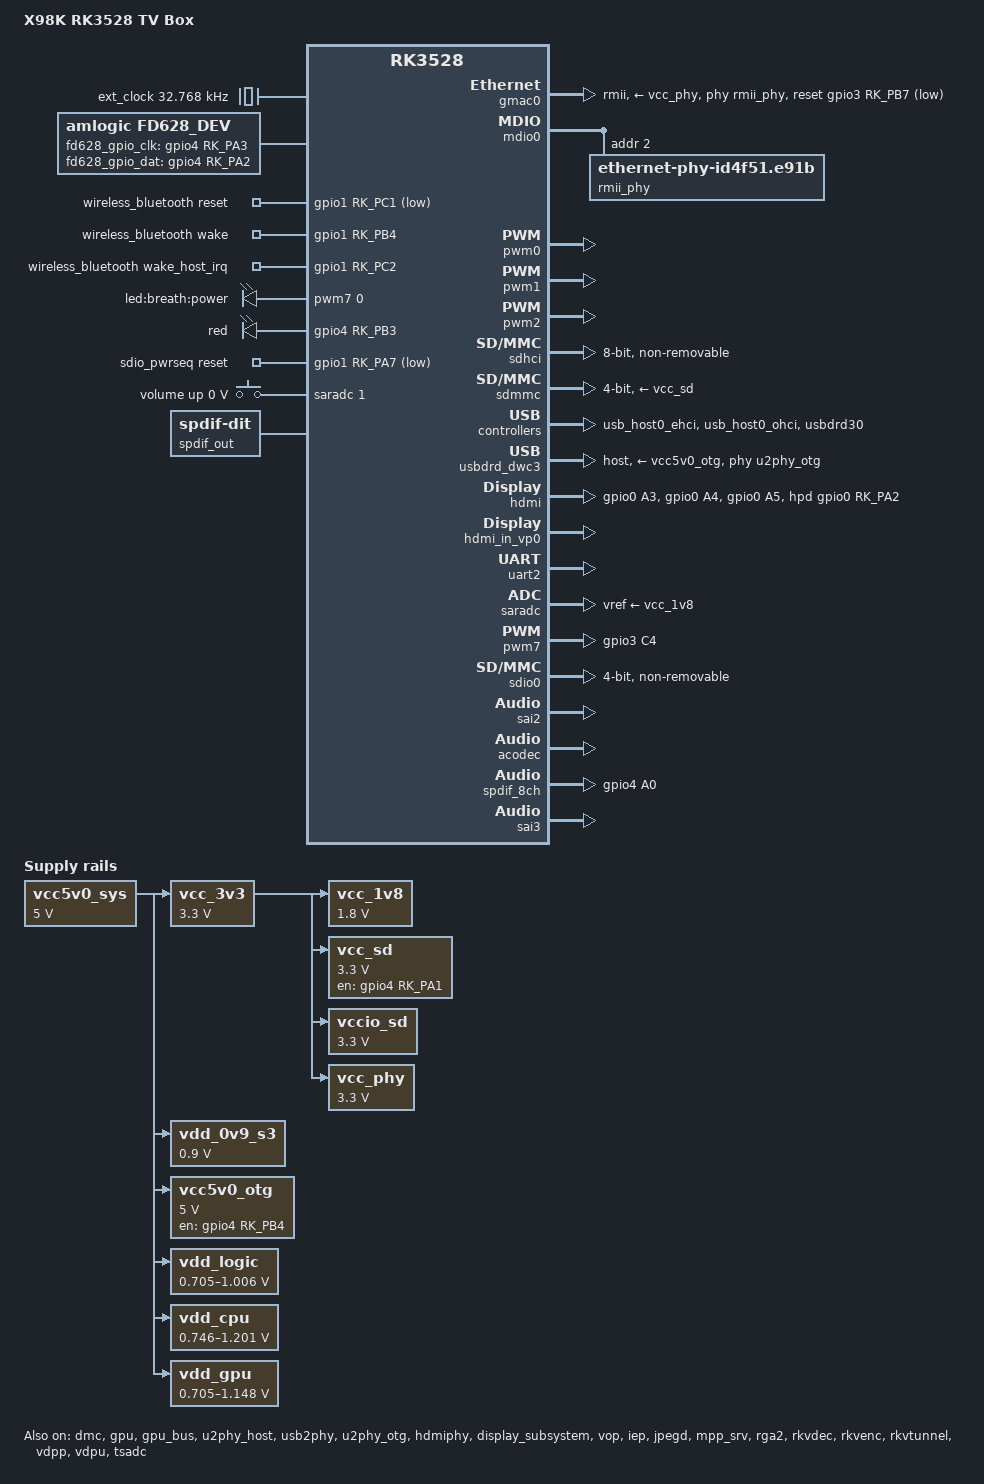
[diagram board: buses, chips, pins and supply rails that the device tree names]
// SPDX-License-Identifier: (GPL-2.0+ OR MIT)
/*
 * Copyright (c) 2025 Armbian
 * Device Tree for X98K RK3528A TV Box
 *
 * Hardware:
 * - SoC: Rockchip RK3528A (quad-core Cortex-A53, 4GB DDR4)
 * - Ethernet: Motorcomm YT8531 PHY (RMII mode, 100Mbps)
 * - WiFi/BT: AIC8800 SDIO (requires out-of-tree driver)
 * - Storage: 32GB eMMC + SD card slot
 * - USB: USB 2.0 x2 + USB 3.0 x1 (2.0 speed only)
 * - Audio: HDMI, S/PDIF optical output
 * - Display: HDMI up to 1080p
 * - IR: PWM3-based receiver (disabled, GPIO conflict)
 */

/dts-v1/;

#include <dt-bindings/clock/rk3528-cru.h>
#include <dt-bindings/gpio/gpio.h>
#include <dt-bindings/input/input.h>
#include <dt-bindings/pinctrl/rockchip.h>
#include "rk3528.dtsi"
#include "rk3528-linux.dtsi"

/ {
	model = "X98K RK3528 TV Box";
	compatible = "rockchip,x98k", "rockchip,rk3528";

	aliases {
		ethernet0 = &gmac0;
		mmc0 = &sdmmc;    /* SD card - like working f7cb62724 */
		mmc1 = &sdhci;    /* eMMC */
		sdio0 = &sdio0;   /* WiFi */
 		serial2 = &uart2;
	};

	chosen: chosen {
		bootargs = ""; /* Clear any inherited hardcoded bootargs */
	};

	ext_clock: ext-clock {
		compatible = "fixed-clock";
		#clock-cells = <0>;
		clock-frequency = <32768>;
	};

	vcc5v0_sys: vcc5v0-sys {
		compatible = "regulator-fixed";
		regulator-name = "vcc5v0_sys";
		regulator-always-on;
		regulator-boot-on;
		regulator-min-microvolt = <5000000>;
		regulator-max-microvolt = <5000000>;
	};

	vcc_3v3: vcc-3v3 {
		compatible = "regulator-fixed";
		regulator-name = "vcc_3v3";
		regulator-always-on;
		regulator-boot-on;
		regulator-min-microvolt = <3300000>;
		regulator-max-microvolt = <3300000>;
		vin-supply = <&vcc5v0_sys>;
	};

	vcc_1v8: vcc-1v8 {
		compatible = "regulator-fixed";
		regulator-name = "vcc_1v8";
		regulator-always-on;
		regulator-boot-on;
		regulator-min-microvolt = <1800000>;
		regulator-max-microvolt = <1800000>;
		vin-supply = <&vcc_3v3>;
	};

	vdd_0v9_s3: vdd-0v9-s3 {
		compatible = "regulator-fixed";
		regulator-name = "vdd_0v9_s3";
		regulator-always-on;
		regulator-boot-on;
		regulator-min-microvolt = <900000>;
		regulator-max-microvolt = <900000>;
		vin-supply = <&vcc5v0_sys>;
	};

	/* SD Card dedicated power supply - prevents kernel from disabling SD power */
	vcc_sd: vcc-sd {
		compatible = "regulator-fixed";
		regulator-name = "vcc_sd";
		regulator-always-on;
		regulator-boot-on;
		regulator-min-microvolt = <3300000>;
		regulator-max-microvolt = <3300000>;
		enable-active-high;
		gpio = <&gpio4 RK_PA1 GPIO_ACTIVE_HIGH>;
		pinctrl-names = "default";
		pinctrl-0 = <&sd_pwr_en>;
		vin-supply = <&vcc_3v3>;
	};

	/* SD Card I/O voltage - fixed 3.3V for non-UHS mode */
	vccio_sd: vccio-sd {
		compatible = "regulator-fixed";
		regulator-name = "vccio_sd";
		regulator-always-on;
		regulator-boot-on;
		regulator-min-microvolt = <3300000>;
		regulator-max-microvolt = <3300000>;
		vin-supply = <&vcc_3v3>;
	};

	vcc5v0_otg: vcc5v0-otg-regulator {
		compatible = "regulator-fixed";
		regulator-name = "vcc5v0_otg";
		regulator-always-on;
		regulator-boot-on;
		regulator-min-microvolt = <5000000>;
		regulator-max-microvolt = <5000000>;
		enable-active-high;
		gpio = <&gpio4 RK_PB4 GPIO_ACTIVE_HIGH>;
		pinctrl-names = "default";
		pinctrl-0 = <&vcc5v0_otg_en>;
		vin-supply = <&vcc5v0_sys>;
	};

	vcc_phy: vcc-phy-regulator {
		compatible = "regulator-fixed";
		regulator-name = "vcc_phy";
		regulator-always-on;
		regulator-boot-on;
		regulator-min-microvolt = <3300000>;
		regulator-max-microvolt = <3300000>;
		vin-supply = <&vcc_3v3>;
	};

	/* FD628 LED Display Controller (7-segment display) */
	fd628_dev: fd628-dev {
		compatible = "amlogic,fd628_dev";
		fd628_gpio_clk = <&gpio4 RK_PA3 GPIO_ACTIVE_HIGH>;
		fd628_gpio_dat = <&gpio4 RK_PA2 GPIO_ACTIVE_HIGH>;
		status = "okay";
	};

	vdd_logic: vdd-logic {
		compatible = "pwm-regulator";
		pwms = <&pwm2 0 5000 1>;
		regulator-name = "vdd_logic";
		regulator-min-microvolt = <705000>;
		regulator-max-microvolt = <1006000>;
		regulator-init-microvolt = <900000>;
		regulator-always-on;
		regulator-boot-on;
		regulator-settling-time-up-us = <250>;
		pwm-supply = <&vcc5v0_sys>;
		status = "okay";
	};

	vdd_cpu: vdd-cpu {
		compatible = "pwm-regulator";
		pwms = <&pwm1 0 5000 1>;
		regulator-name = "vdd_cpu";
		regulator-min-microvolt = <746000>;
		regulator-max-microvolt = <1201000>;
		regulator-init-microvolt = <953000>;
		regulator-always-on;
		regulator-boot-on;
		regulator-settling-time-up-us = <250>;
		pwm-supply = <&vcc5v0_sys>;
		status = "okay";
	};

	vdd_gpu: vdd-gpu {
		compatible = "pwm-regulator";
		pwms = <&pwm0 0 5000 1>;
		regulator-name = "vdd_gpu";
		regulator-min-microvolt = <705000>;
		regulator-max-microvolt = <1148000>;
		regulator-init-microvolt = <900000>;
		regulator-always-on;
		regulator-boot-on;
		regulator-settling-time-up-us = <250>;
		pwm-supply = <&vcc5v0_sys>;
		status = "okay";
	};

/* Bluetooth - AIC8800 (use UART2 MUX1 to avoid GPIO conflicts) */
wireless_bluetooth: wireless-bluetooth {
	compatible = "bluetooth-platdata";
	clocks = <&ext_clock>;
	clock-names = "ext_clock";
	BT,reset_gpio = <&gpio1 RK_PC1 GPIO_ACTIVE_LOW>;      /* GPIO3_PC1 */
	BT,wake_gpio = <&gpio1 RK_PB4 GPIO_ACTIVE_HIGH>;      /* GPIO3_PB4 */
	BT,wake_host_irq = <&gpio1 RK_PC2 GPIO_ACTIVE_HIGH>;  /* GPIO3_PC2 */
	status = "okay";
};

	/* PWM Power LED - confirmed from Android */
	pwmleds {
		compatible = "pwm-leds";
		status = "okay";

		power_led: led-power {
			label = "led:breath:power";
			pwms = <&pwm7 0 1000000 0>;
			max-brightness = <255>;
			default-state = "on";
			linux,default-trigger = "default-on";
		};
	};

	/* GPIO Status LED - confirmed from Android (GPIO4_PB3) */
	gpio-leds {
		compatible = "gpio-leds";
		status = "okay";

		red_led: led-red {
			label = "red";
			gpios = <&gpio4 RK_PB3 GPIO_ACTIVE_HIGH>;
			default-state = "off";
			linux,default-trigger = "heartbeat";
		};
	};

	/* AIC8800 WiFi/BT power sequence */
	sdio_pwrseq: sdio-pwrseq {
		compatible = "mmc-pwrseq-simple";
		pinctrl-names = "default";
		pinctrl-0 = <&wifi_enable_h &wifi_32k>;
		clocks = <&ext_clock>;
		clock-names = "ext_clock";
		post-power-on-delay-ms = <200>;
		power-off-delay-us = <500000>;
		reset-gpios = <&gpio1 RK_PA7 GPIO_ACTIVE_LOW>;  /* GPIO1_PA7 */
	};

	/* ADC Keys */
	adc-keys {
		compatible = "adc-keys";
		io-channels = <&saradc 1>;
		io-channel-names = "buttons";
		keyup-threshold-microvolt = <1800000>;
		status = "okay";

		volumeup-key {
			label = "volume up";
			linux,code = <KEY_VOLUMEUP>;
			press-threshold-microvolt = <9>;
		};
	};

	/* HDMI Sound */
	hdmi_sound: hdmi-sound {
		compatible = "simple-audio-card";
		simple-audio-card,format = "i2s";
		simple-audio-card,mclk-fs = <128>;
		simple-audio-card,name = "rockchip-hdmi0";
		status = "okay";

		simple-audio-card,cpu {
			sound-dai = <&sai3>;
		};

		simple-audio-card,codec {
			sound-dai = <&hdmi>;
		};
	};

	/* IR Receiver - PWM3-based (GPIO4_PB6) from Android */
	ir-receiver {
		compatible = "gpio-ir-receiver";
		gpios = <&gpio4 RK_PB6 GPIO_ACTIVE_LOW>;
		pinctrl-names = "default";
		pinctrl-0 = <&ir_recv_pin>;
		linux,rc-map-name = "rc-beelink-gs1";
		status = "disabled"; /* Disabled: GPIO conflicts with PWM3, needs rockchip,remotectl-pwm */
	};

	/* S/PDIF Optical Audio */
	spdif_sound: spdif-sound {
		compatible = "simple-audio-card";
		simple-audio-card,name = "ROCKCHIP,SPDIF";
		simple-audio-card,mclk-fs = <128>;
		status = "okay";

		simple-audio-card,cpu {
			sound-dai = <&spdif_8ch>;
		};

		simple-audio-card,codec {
			sound-dai = <&spdif_out>;
		};
	};

	/* Internal Analog Audio Codec (for 3.5mm output if present) */
	acodec_sound: acodec-sound {
		compatible = "simple-audio-card";
		simple-audio-card,name = "rk3528-acodec";
		simple-audio-card,format = "i2s";
		simple-audio-card,mclk-fs = <256>;
		status = "okay";

		simple-audio-card,cpu {
			sound-dai = <&sai2>;
		};

		simple-audio-card,codec {
			sound-dai = <&acodec>;
		};
	};

	spdif_out: spdif-out {
		compatible = "linux,spdif-dit";
		#sound-dai-cells = <0>;
	};

	/* Rockchip Suspend Configuration */
	rockchip_suspend: rockchip-suspend {
		compatible = "rockchip,pm-rk3528";
		status = "okay";
		rockchip,sleep-debug-en = <1>;
		rockchip,sleep-mode-config = <1>;
		rockchip,wakeup-config = <0x11>;
		rockchip,virtual-poweroff = <1>;
		rockchip,pwm-regulator-config = <3>;
	};

	/* System Monitor for Thermal Protection */
	rockchip_system_monitor: rockchip-system-monitor {
		compatible = "rockchip,system-monitor";
		rockchip,thermal-zone = "soc-thermal";
		rockchip,polling-delay = <200>;
		rockchip,temp-hysteresis = <5000>;
		rockchip,offline-cpu-temp = <105000>;  /* 105°C - offline CPU 2-3 when hot */
		rockchip,temp-offline-cpus = "2-3";
	};
};

/* Ethernet - YT8531 PHY confirmed via Android (RMII mode, MDIO addr 2) */
&gmac0 {
	phy-mode = "rmii";
	clock_in_out = "output";

	snps,reset-gpio = <&gpio3 RK_PB7 GPIO_ACTIVE_LOW>;
	snps,reset-active-low;
	snps,reset-delays-us = <0 10000 50000>;

	phy-supply = <&vcc_phy>;
	phy-handle = <&rmii_phy>;
	status = "okay";
};

&mdio0 {
	#address-cells = <1>;
	#size-cells = <0>;

	rmii_phy: ethernet-phy@2 {
		compatible = "ethernet-phy-id4f51.e91b", "ethernet-phy-ieee802.3-c22";
		reg = <0x2>;
	};
};

/* PWM nodes for voltage scaling */
&pwm0 {
	status = "okay";
};

&pwm1 {
	status = "okay";
};

&pwm2 {
	status = "okay";
};

&cpu0 {
	cpu-supply = <&vdd_cpu>;
};

&dmc {
	center-supply = <&vdd_logic>;
	status = "okay";
};

&gpu {
	mali-supply = <&vdd_gpu>;
	status = "okay";
};

&gpu_bus {
	bus-supply = <&vdd_logic>;
	status = "okay";
};

/* eMMC */
&sdhci {
	bus-width = <8>;
	cap-mmc-highspeed;
	mmc-hs200-1_8v;
	non-removable;
	max-frequency = <200000000>;
	no-sd;
	no-sdio;
	status = "okay";
};

/* SD Card - conservative configuration without UHS modes */
&sdmmc {
	bus-width = <4>;
	cap-sd-highspeed;
	disable-wp;
	no-sdio;
	no-mmc;
	max-frequency = <50000000>;
	pinctrl-names = "default";
	pinctrl-0 = <&sdmmc_clk &sdmmc_cmd &sdmmc_bus4>;
	vmmc-supply = <&vcc_sd>;
	vqmmc-supply = <&vccio_sd>;
	status = "okay";
};

/* USB 2.0 Host */
&u2phy_host {
	status = "okay";
};

&usb_host0_ehci {
	status = "okay";
};

&usb_host0_ohci {
	status = "okay";
};

/* USB 3.0 Port (USB 2.0 speed only - RK3528 has no USB 3.0 PHY) */
&usb2phy {
	status = "okay";
};

&u2phy_otg {
	status = "okay";
};

&usbdrd_dwc3 {
	dr_mode = "host";
	phys = <&u2phy_otg>;
	phy-names = "usb2-phy";
	maximum-speed = "high-speed";
	snps,dis_u2_susphy_quirk;
	snps,usb2-lpm-disable;
	snps,dis-u2-freeclk-exists-quirk;
	snps,dis-del-phy-power-chg-quirk;
	snps,dis-tx-ipgap-linecheck-quirk;
	vbus-supply = <&vcc5v0_otg>;
	status = "okay";
};

&usbdrd30 {
	status = "okay";
};

/* HDMI */
&hdmi {
	status = "okay";
	cec-enable;
	/* DDC I2C timing from Android (asymmetric for EDID compatibility) */
	ddc-i2c-scl-high-time-ns = <9625>;
	ddc-i2c-scl-low-time-ns = <10000>;
	avdd-0v9-supply = <&vdd_0v9_s3>;
	avdd-1v8-supply = <&vcc_1v8>;
	hpd-gpios = <&gpio0 RK_PA2 GPIO_ACTIVE_HIGH>;
	pinctrl-names = "default";
	pinctrl-0 = <&hdmi_pins>;
};

&hdmiphy {
	status = "okay";
	phy-supply = <&vcc5v0_sys>;
};


&hdmi_in_vp0 {
	status = "okay";
	connect = <&vp0_out_hdmi>;
};

/* Display Subsystem */
&display_subsystem {
	status = "okay";
};

&vop {
	status = "okay";
};

&vop_mmu {
	status = "okay";
};


/* GPU */
&gpu {
	status = "okay";
};

/* Hardware Video Processing Units */
&iep {
	status = "okay";
};

&iep_mmu {
	status = "okay";
};

&jpegd {
	status = "okay";
};

&jpegd_mmu {
	status = "okay";
};

&mpp_srv {
	status = "okay";
};

&rga2 {
	status = "okay";
};

&rga2_mmu {
	status = "okay";
};

&rkvdec {
	status = "okay";
};

&rkvdec_mmu {
	status = "okay";
};

&rkvenc {
	status = "okay";
};

&rkvenc_mmu {
	status = "okay";
};

&rkvtunnel {
	status = "okay";
};

&vdpp {
	status = "okay";
};

&vdpu {
	status = "okay";
};

&vdpu_mmu {
	status = "okay";
};

/* Thermal monitoring */
&tsadc {
	status = "okay";
};

/* UART2 for Bluetooth (AIC8800) */
/* UART2 for Bluetooth - use MUX1 to avoid GPIO conflicts with wireless-bluetooth node */
&uart2 {
	pinctrl-names = "default";
	pinctrl-0 = <&uart2m1_xfer &uart2m1_ctsn &uart2m1_rtsn>;
	uart-has-rtscts;
	status = "okay";
};

/* SARADC */
&saradc {
	vref-supply = <&vcc_1v8>;
	status = "okay";
};

/* PWM3 - Used for IR receiver in Android, disabled for now */
&pwm3 {
	status = "disabled";
	pinctrl-names = "default";
	pinctrl-0 = <&pwm3_pins>;
};

&pwm7 {
	status = "okay";
	pinctrl-names = "default";
	pinctrl-0 = <&pwm7_pins>;
};

/* SDIO for WiFi (AIC8800) */
/* SDIO for WiFi - AIC8800 at ffc30000 */
&sdio0 {
	bus-width = <4>;
	cap-sd-highspeed;
	cap-sdio-irq;
	disable-wp;
	keep-power-in-suspend;
	max-frequency = <25000000>;  /* 25MHz for initial test - reduce clock speed */
	mmc-pwrseq = <&sdio_pwrseq>;
	no-sd;
	no-mmc;
	non-removable;
	sd-uhs-sdr12;
	sd-uhs-sdr25;
	pinctrl-names = "default";
	pinctrl-0 = <&sdio0_bus4 &sdio0_cmd &sdio0_clk>;
	status = "okay";
};

/* S/PDIF for Optical Audio */
/* SAI2 Audio Interface for Analog Codec */
&sai2 {
	status = "okay";
	#sound-dai-cells = <0>;
};

/* Analog Audio Codec */
&acodec {
	status = "okay";
	#sound-dai-cells = <0>;
};

&spdif_8ch {
	status = "okay";
	pinctrl-0 = <&spdifm0_pins>;
	#sound-dai-cells = <0>;
};

/* Pinctrl */
&pinctrl {
	usb {
		vcc5v0_otg_en: vcc5v0-otg-en {
			rockchip,pins = <4 RK_PB4 RK_FUNC_GPIO &pcfg_pull_none>;
		};
	};

	wireless-wlan {
		wifi_host_wake: wifi-host-wake-irq {
			rockchip,pins = <1 RK_PA6 RK_FUNC_GPIO &pcfg_pull_down>;
		};
	};

	hdmi {
		hdmi_pins: hdmi-pins {
			rockchip,pins =
				<0 RK_PA3 1 &pcfg_pull_none>,  /* CEC */
				<0 RK_PA4 1 &pcfg_pull_up>,    /* DDC SDA */
				<0 RK_PA5 1 &pcfg_pull_up>;    /* DDC SCL */
		};
	};

	sdcard {
		sd_pwr_en: sd-pwr-en {
			rockchip,pins = <4 RK_PA1 RK_FUNC_GPIO &pcfg_pull_none>;
		};
	};

	sdio-pwrseq {
		wifi_enable_h: wifi-enable-h {
			rockchip,pins = <1 RK_PA7 RK_FUNC_GPIO &pcfg_output_low_pull_none>;
		};

		wifi_32k: wifi-32k {
			rockchip,pins = <1 RK_PC3 1 &pcfg_pull_none>;
		};
	};

	pwm {
		pwm3_pins: pwm3-pins {
			rockchip,pins = <4 RK_PB6 1 &pcfg_pull_none>;
		};

		pwm7_pins: pwm7-pins {
			rockchip,pins = <3 RK_PC4 3 &pcfg_pull_none>;
		};
	};

	spdif {
		spdifm0_pins: spdifm0-pins {
			rockchip,pins = <4 RK_PA0 1 &pcfg_pull_none>;
		};
	};

	leds {
		red_led_pin: red-led-pin {
			rockchip,pins = <4 RK_PB3 RK_FUNC_GPIO &pcfg_pull_none>;
		};
	};

	ir {
		ir_recv_pin: ir-recv-pin {
			rockchip,pins = <3 RK_PB1 RK_FUNC_GPIO &pcfg_pull_none>;
		};
	};

};

/* I2S Audio Interface for HDMI */
&sai3 {
	status = "okay";
	#sound-dai-cells = <0>;
};

/* Override reserved-memory for display framebuffer - 12MB at 0xf9f00000 (from Android) */
&drm_logo {
	reg = <0x0 0xf9f00000 0x0 0xc00000>;
};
